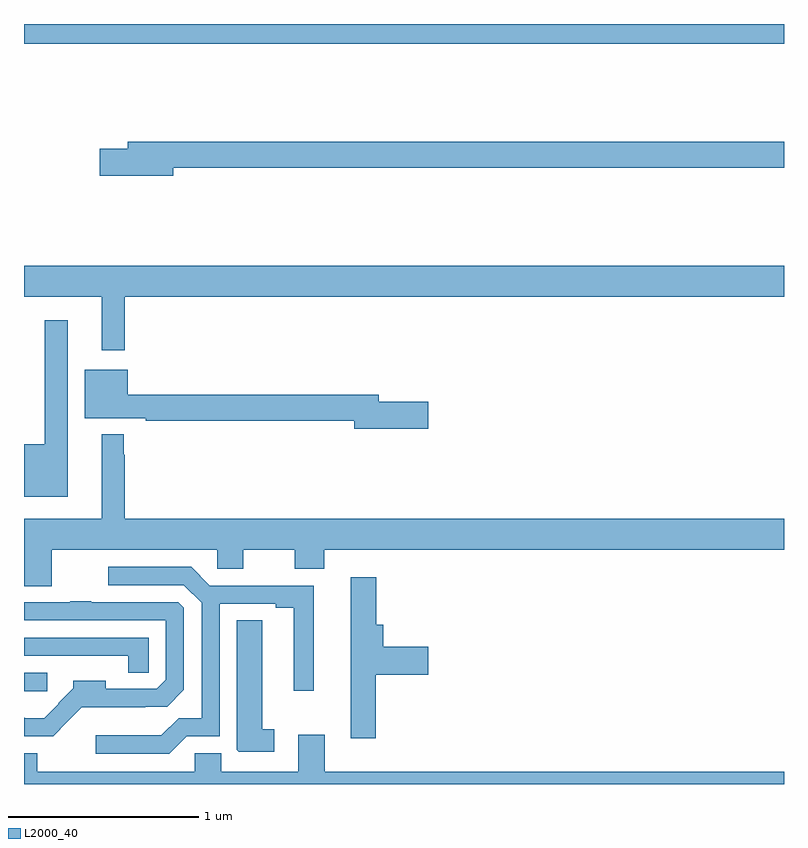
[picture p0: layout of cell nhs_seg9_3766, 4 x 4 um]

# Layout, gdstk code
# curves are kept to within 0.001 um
import gdstk
lib = gdstk.Library(unit=1e-6, precision=1e-09)
def R(c, l, rs):  # rectangles x0, y0, x1, y1
    for r in rs: c.add(gdstk.rectangle(r[:2], r[2:], *l))
def P(c, l, *ps):  # polygons
    for p in ps: c.add(gdstk.Polygon(p, *l))
L2000_40 = (2000, 40)

nhs_seg9_3766 = lib.new_cell('nhs_seg9_3766')
R(nhs_seg9_3766, L2000_40, [(325,1216.989,325.122,1217.085), (325,1220.396,329,1220.5)])
P(nhs_seg9_3766, L2000_40, [(325.786,1219.744),(329,1219.744),(329,1219.88),(325.547,1219.88),(325.547,1219.844),(325.398,1219.844),(325.398,1219.702),(325.786,1219.702)],
  [(325.531,1219.064),(329,1219.064),(329,1219.228),(325,1219.228),(325,1219.064),(325.409,1219.064),(325.409,1218.783),(325.531,1218.783)],
  [(325.231,1218.94),(325.11,1218.94),(325.11,1218.287),(325,1218.287),(325,1218.011),(325.231,1218.011)],
  [(327.127,1218.512),(326.866,1218.512),(326.866,1218.548),(325.546,1218.548),(325.546,1218.679),(325.319,1218.679),(325.319,1218.425),(325.642,1218.425),(325.642,1218.412),(326.738,1218.412),(326.738,1218.37),(327.127,1218.37)],
  [(325.147,1217.732),(326.016,1217.732),(326.016,1217.634),(326.155,1217.634),(326.155,1217.732),(326.426,1217.732),(326.426,1217.633),(326.579,1217.633),(326.579,1217.732),(329,1217.732),(329,1217.896),(325.531,1217.896),(325.531,1218.233),(325.524,1218.233),(325.524,1218.34),(325.409,1218.34),(325.409,1217.896),(325,1217.896),(325,1217.542),(325.147,1217.542)],
  [(325.857,1216.752),(326.031,1216.752),(326.031,1217.448),(326.324,1217.448),(326.324,1217.428),(326.42,1217.428),(326.42,1216.992),(326.524,1216.992),(326.524,1217.544),(325.978,1217.544),(325.879,1217.643),(325.443,1217.643),(325.443,1217.547),(325.842,1217.547),(325.935,1217.454),(325.935,1216.847),(325.814,1216.847),(325.723,1216.756),(325.377,1216.756),(325.377,1216.659),(325.764,1216.659)],
  [(326.852,1217.075),(327.127,1217.075),(327.127,1217.222),(326.891,1217.222),(326.891,1217.338),(326.855,1217.338),(326.855,1217.587),(326.72,1217.587),(326.72,1216.74),(326.852,1216.74)],
  [(325.231,1216.829),(325.229,1216.831),(325.303,1216.905),(325.637,1216.904),(325.637,1216.906),(325.753,1216.906),(325.842,1216.995),(325.842,1217.427),(325.812,1217.457),(325.355,1217.457),(325.355,1217.462),(325.243,1217.462),(325.243,1217.457),(325,1217.457),(325,1217.361),(325.746,1217.361),(325.746,1217.049),(325.698,1217.001),(325.429,1217.001),(325.429,1217.044),(325.258,1217.044),(325.258,1217.005),(325.179,1216.926),(325.182,1216.923),(325.106,1216.847),(325.004,1216.847),(325.004,1216.849),(325,1216.849),(325,1216.752),(325.155,1216.752)],
  [(326.317,1216.787),(326.254,1216.787),(326.254,1217.363),(326.12,1217.363),(326.12,1216.681),(326.13,1216.671),(326.317,1216.671)],
  [(325.656,1217.271),(325,1217.271),(325,1217.175),(325.293,1217.175),(325.293,1217.174),(325.548,1217.174),(325.548,1217.086),(325.656,1217.086)],
  [(329,1216.564),(326.584,1216.564),(326.584,1216.759),(326.444,1216.759),(326.444,1216.564),(326.038,1216.564),(326.038,1216.662),(325.899,1216.662),(325.899,1216.564),(325.071,1216.564),(325.071,1216.663),(325,1216.663),(325,1216.5),(329,1216.5)])

lib.write_gds('nhs_seg9_3766.gds')
